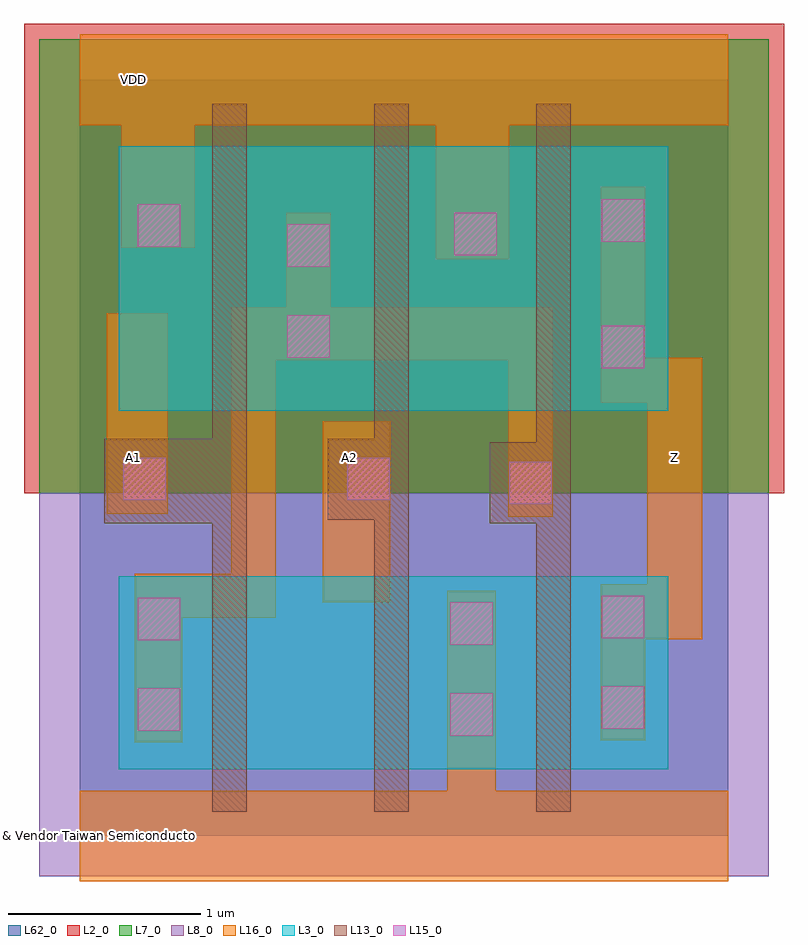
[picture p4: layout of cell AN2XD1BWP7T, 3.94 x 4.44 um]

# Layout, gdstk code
import gdstk
lib = gdstk.Library(unit=1e-6, precision=1e-09)
def R(c, l, rs):  # rectangles x0, y0, x1, y1
    for r in rs: c.add(gdstk.rectangle(r[:2], r[2:], *l))
def P(c, l, *ps):  # polygons
    for p in ps: c.add(gdstk.Polygon(p, *l))
L2_0 = (2, 0)
L3_0 = (3, 0)
L7_0 = (7, 0)
L8_0 = (8, 0)
L13_0 = (13, 0)
L15_0 = (15, 0)
L16_0 = (16, 0)
L62_0 = (62, 0)

an2xd1bwp7t = lib.new_cell('AN2XD1BWP7T')
R(an2xd1bwp7t, L2_0, [(-0.29,1.775,3.65,4.21)])
R(an2xd1bwp7t, L3_0, [(0.2,0.345,3.05,1.345), (0.2,2.205,3.05,3.575)])
R(an2xd1bwp7t, L7_0, [(-0.21,1.775,3.57,4.13)])
R(an2xd1bwp7t, L8_0, [(-0.21,-0.21,3.57,1.775)])
P(an2xd1bwp7t, L13_0, [(2.365,0.125),(2.365,1.62),(2.125,1.62),(2.125,2.04),(2.365,2.04),(2.365,3.795),(2.545,3.795),(2.545,0.125)],
  [(1.525,0.125),(1.525,1.64),(1.285,1.64),(1.285,2.06),(1.525,2.06),(1.525,3.795),(1.705,3.795),(1.705,0.125)],
  [(0.685,0.125),(0.685,1.62),(0.125,1.62),(0.125,2.06),(0.685,2.06),(0.685,3.795),(0.865,3.795),(0.865,0.125)])
R(an2xd1bwp7t, L15_0, [(1.92,0.52,2.14,0.74), (0.3,0.545,0.52,0.765), (2.705,0.555,2.925,0.775), (1.92,0.99,2.14,1.21), (0.3,1.015,0.52,1.235), (2.705,1.025,2.925,1.245), (2.225,1.72,2.445,1.94), (0.225,1.74,0.445,1.96), (1.385,1.74,1.605,1.96), (2.705,2.425,2.925,2.645), (1.075,2.48,1.295,2.7), (1.075,2.95,1.295,3.17), (1.94,3.01,2.16,3.23), (0.3,3.055,0.52,3.275), (2.705,3.08,2.925,3.3)])
R(an2xd1bwp7t, L16_0, [(1.26,1.21,1.61,2.15), (0.14,1.67,0.455,2.71)])
P(an2xd1bwp7t, L16_0, [(0,-0.235),(0,0.235),(1.905,0.235),(1.905,1.27),(2.155,1.27),(2.155,0.235),(3.36,0.235),(3.36,-0.235)],
  [(1.845,2.99),(1.845,3.685),(0.595,3.685),(0.595,3.05),(0.215,3.05),(0.215,3.685),(0,3.685),(0,4.155),(3.36,4.155),(3.36,3.685),(2.225,3.685),(2.225,2.99)],
  [(2.7,0.495),(2.7,1.305),(2.94,1.305),(2.94,2.245),(2.7,2.245),(2.7,3.365),(2.93,3.365),(2.93,2.48),(3.225,2.48),(3.225,1.02),(2.93,1.02),(2.93,0.495)],
  [(0.285,0.485),(0.285,1.36),(0.785,1.36),(0.785,2.74),(1.07,2.74),(1.07,3.23),(1.3,3.23),(1.3,2.74),(2.45,2.74),(2.45,1.655),(2.22,1.655),(2.22,2.465),(1.015,2.465),(1.015,1.13),(0.53,1.13),(0.53,0.485)])
R(an2xd1bwp7t, L62_0, [(0,0,3.36,3.92)])
an2xd1bwp7t.add(gdstk.Label('& Vendor Taiwan Semiconductor Manufacturing Corp.', (0,0), layer=63, texttype=63))
an2xd1bwp7t.add(gdstk.Label('& Product tcb018gbwp7t', (0,0), layer=63, texttype=63))
an2xd1bwp7t.add(gdstk.Label('& Version 270a', (0,0), layer=63, texttype=63))
an2xd1bwp7t.add(gdstk.Label('& Metric 13.171', (0,0), layer=63, texttype=63))
an2xd1bwp7t.add(gdstk.Label('& Distributor TSMC', (0,0), layer=63, texttype=63))
an2xd1bwp7t.add(gdstk.Label('& SerialNumber 000000', (0,0), layer=63, texttype=63))
an2xd1bwp7t.add(gdstk.Label('& _Instance_tag AN2XD1BWP7T', (0,0), layer=63, texttype=63))
an2xd1bwp7t.add(gdstk.Label('& Vendor Taiwan Semiconductor Manufacturing Corp.', (0,0), layer=11, texttype=0))
an2xd1bwp7t.add(gdstk.Label('& Product tcb018gbwp7t', (0,0), layer=11, texttype=0))
an2xd1bwp7t.add(gdstk.Label('& Version 270a', (0,0), layer=11, texttype=0))
an2xd1bwp7t.add(gdstk.Label('& Metric 13.171', (0,0), layer=11, texttype=0))
an2xd1bwp7t.add(gdstk.Label('& Distributor TSMC', (0,0), layer=11, texttype=0))
an2xd1bwp7t.add(gdstk.Label('& SerialNumber 000000', (0,0), layer=11, texttype=0))
an2xd1bwp7t.add(gdstk.Label('& _Instance_tag AN2XD1BWP7T', (0,0), layer=11, texttype=0))
an2xd1bwp7t.add(gdstk.Label('AN2XD1BWP7T', (0,0), layer=59, texttype=0))
an2xd1bwp7t.add(gdstk.Label('VSS', (0.28,0), layer=40, texttype=0))
an2xd1bwp7t.add(gdstk.Label('VDD', (0.28,3.92), layer=40, texttype=0))
an2xd1bwp7t.add(gdstk.Label('Z', (3.08,1.96), layer=40, texttype=0))
an2xd1bwp7t.add(gdstk.Label('A2', (1.4,1.96), layer=40, texttype=0))
an2xd1bwp7t.add(gdstk.Label('A1', (0.28,1.96), layer=40, texttype=0))

lib.write_gds('AN2XD1BWP7T.gds')
